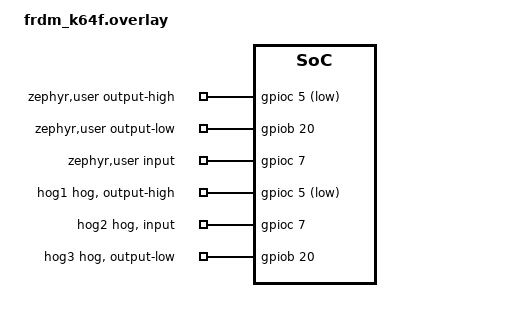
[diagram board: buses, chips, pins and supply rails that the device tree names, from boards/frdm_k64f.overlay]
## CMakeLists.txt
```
# SPDX-License-Identifier: Apache-2.0

cmake_minimum_required(VERSION 3.20.0)
find_package(Zephyr REQUIRED HINTS $ENV{ZEPHYR_BASE})
project(gpio_hogs)

FILE(GLOB app_sources src/*.c)
target_sources(app PRIVATE ${app_sources})
```

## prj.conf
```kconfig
CONFIG_ZTEST=y
CONFIG_GPIO=y
CONFIG_GPIO_GET_DIRECTION=y
CONFIG_GPIO_GET_CONFIG=y
```

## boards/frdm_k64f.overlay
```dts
/*
 * Copyright (c) 2023 Vestas Wind Systems A/S
 *
 * SPDX-License-Identifier: Apache-2.0
*/

#include <zephyr/dt-bindings/gpio/gpio.h>

/ {
	zephyr,user {
		output-high-gpios = <&gpioc 5 GPIO_ACTIVE_LOW>;
		output-low-gpios = <&gpiob 20 GPIO_ACTIVE_HIGH>;
		input-gpios = <&gpioc 7 GPIO_ACTIVE_HIGH>;
	};
};

&gpioc {
	hog1 {
		gpio-hog;
		gpios = <5 GPIO_ACTIVE_LOW>;
		output-high;
	};

	hog2 {
		gpio-hog;
		gpios = <7 GPIO_ACTIVE_HIGH>;
		input;
	};
};

&gpiob {
	hog3 {
		gpio-hog;
		gpios = <20 GPIO_ACTIVE_HIGH>;
		output-low;
	};
};
```

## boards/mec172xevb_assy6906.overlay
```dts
/*
 * Copyright (c) 2023 Microchip Technology Inc.
 *
 * SPDX-License-Identifier: Apache-2.0
*/

#include <zephyr/dt-bindings/gpio/gpio.h>

/ {
	zephyr,user {
		output-high-gpios = <&gpio_000_036 13 GPIO_ACTIVE_LOW>;
		output-low-gpios = <&gpio_000_036 14 GPIO_ACTIVE_HIGH>;
		input-gpios = <&gpio_000_036 11 GPIO_ACTIVE_LOW>;
	};
};

&gpio_000_036 {
	hog1 {
		gpio-hog;
		gpios = <13 GPIO_ACTIVE_LOW>;
		output-high;
	};

	hog2 {
		gpio-hog;
		gpios = <14 GPIO_ACTIVE_HIGH>;
		output-low;
	};

	hog3 {
		gpio-hog;
		gpios = <11 GPIO_ACTIVE_LOW>;
		input;
	};
};
```

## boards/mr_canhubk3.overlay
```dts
/*
 * Copyright 2023 NXP
 *
 * SPDX-License-Identifier: Apache-2.0
 */

#include <zephyr/dt-bindings/gpio/gpio.h>

/ {
	zephyr,user {
		output-high-gpios = <&gpioa_h 0 GPIO_ACTIVE_LOW>;
		output-low-gpios = <&gpioa_h 3 GPIO_ACTIVE_HIGH>;
		input-gpios = <&gpioa_h 1 GPIO_ACTIVE_HIGH>;
	};
};

&gpioa_h {
	hog1 {
		gpio-hog;
		gpios = <0 GPIO_ACTIVE_LOW>;
		output-high;
	};

	hog2 {
		gpio-hog;
		gpios = <1 GPIO_ACTIVE_HIGH>;
		input;
	};

	hog3 {
		gpio-hog;
		gpios = <3 GPIO_ACTIVE_HIGH>;
		output-low;
	};
};
```

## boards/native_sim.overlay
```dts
/*
 * Copyright (c) 2023 Vestas Wind Systems A/S
 *
 * SPDX-License-Identifier: Apache-2.0
*/

#include <zephyr/dt-bindings/gpio/gpio.h>

/ {
	zephyr,user {
		output-high-gpios = <&gpio0 1 GPIO_ACTIVE_LOW>;
		output-low-gpios = <&gpio0 2 GPIO_ACTIVE_HIGH>;
		input-gpios = <&gpio0 3 GPIO_ACTIVE_HIGH>;
	};
};

&gpio0 {
	hog1 {
		gpio-hog;
		gpios = <1 GPIO_ACTIVE_LOW>;
		output-high;
	};

	hog2 {
		gpio-hog;
		gpios = <2 GPIO_ACTIVE_HIGH>;
		output-low;
	};

	hog3 {
		gpio-hog;
		gpios = <3 GPIO_ACTIVE_HIGH>;
		input;
	};
};
```

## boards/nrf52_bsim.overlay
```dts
/*
 * Copyright (c) 2023 Vestas Wind Systems A/S
 *
 * SPDX-License-Identifier: Apache-2.0
*/

#include <zephyr/dt-bindings/gpio/gpio.h>

/ {
	zephyr,user {
		output-high-gpios = <&gpio0 13 GPIO_ACTIVE_LOW>;
		output-low-gpios = <&gpio0 14 GPIO_ACTIVE_HIGH>;
		input-gpios = <&gpio0 11 GPIO_ACTIVE_LOW>;
	};
};

&gpio0 {
	hog1 {
		gpio-hog;
		gpios = <13 GPIO_ACTIVE_LOW>;
		output-high;
	};

	hog2 {
		gpio-hog;
		gpios = <14 GPIO_ACTIVE_HIGH>;
		output-low;
	};

	hog3 {
		gpio-hog;
		gpios = <11 GPIO_ACTIVE_LOW>;
		input;
	};
};
```

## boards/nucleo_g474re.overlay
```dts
/*
 * Copyright (c) 2023 Vestas Wind Systems A/S
 *
 * SPDX-License-Identifier: Apache-2.0
*/

#include <zephyr/dt-bindings/gpio/gpio.h>

/ {
	zephyr,user {
		output-high-gpios = <&gpioc 2 GPIO_ACTIVE_LOW>;
		output-low-gpios = <&gpiof 1 GPIO_ACTIVE_HIGH>;
		input-gpios = <&gpioc 3 GPIO_ACTIVE_HIGH>;
	};
};

&gpioc {
	hog1 {
		gpio-hog;
		gpios = <2 GPIO_ACTIVE_LOW>;
		output-high;
	};

	hog2 {
		gpio-hog;
		gpios = <3 GPIO_ACTIVE_HIGH>;
		input;
	};
};

&gpiof {
	hog3 {
		gpio-hog;
		gpios = <1 GPIO_ACTIVE_HIGH>;
		output-low;
	};
};
```

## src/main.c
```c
/*
 * Copyright (c) 2023 Vestas Wind Systems A/S
 *
 * SPDX-License-Identifier: Apache-2.0
 */

#include <zephyr/drivers/gpio.h>
#include <zephyr/ztest.h>

#define ZEPHYR_USER_NODE DT_PATH(zephyr_user)

const struct gpio_dt_spec output_high_gpio =
	GPIO_DT_SPEC_GET_OR(ZEPHYR_USER_NODE, output_high_gpios, {0});
const struct gpio_dt_spec output_low_gpio =
	GPIO_DT_SPEC_GET_OR(ZEPHYR_USER_NODE, output_low_gpios, {0});
const struct gpio_dt_spec input_gpio =
	GPIO_DT_SPEC_GET_OR(ZEPHYR_USER_NODE, input_gpios, {0});

static void assert_gpio_hog_direction(const struct gpio_dt_spec *spec, bool output)
{
	int err;

	if (spec->port == NULL) {
		ztest_test_skip();
	}

	if (output) {
		err = gpio_pin_is_output(spec->port, spec->pin);
	} else {
		err = gpio_pin_is_input(spec->port, spec->pin);
	}

	if (err == -ENOSYS) {
		ztest_test_skip();
	}

	zassert_equal(err, 1, "GPIO hog %s pin %d not configured as %s",
		      spec->port->name, spec->pin,
		      output ? "output" : "input");
}

ZTEST(gpio_hogs, test_gpio_hog_output_high_direction)
{
	assert_gpio_hog_direction(&output_high_gpio, true);
}

ZTEST(gpio_hogs, test_gpio_hog_output_low_direction)
{
	assert_gpio_hog_direction(&output_low_gpio, true);
}

ZTEST(gpio_hogs, test_gpio_hog_input_direction)
{
	assert_gpio_hog_direction(&input_gpio, false);
}

static void assert_gpio_hog_config(const struct gpio_dt_spec *spec, gpio_flags_t expected)
{
	gpio_flags_t actual;
	int err;

	if (spec->port == NULL) {
		ztest_test_skip();
	}

	err = gpio_pin_get_config_dt(spec, &actual);
	if (err == -ENOSYS) {
		ztest_test_skip();
	}

	zassert_equal(err, 0, "failed to get config for GPIO hog %s, pin %d (err %d)",
		      spec->port->name, spec->pin, err);
	zassert_equal(actual & expected, expected,
		      "GPIO hog %s, pin %d flags not set (0x%08x vs. 0x%08x)",
		      spec->port->name, spec->pin, actual, expected);
}

ZTEST(gpio_hogs, test_gpio_hog_output_high_config)
{
	gpio_flags_t expected = GPIO_OUTPUT;

	if ((output_high_gpio.dt_flags & GPIO_ACTIVE_LOW) != 0) {
		expected |= GPIO_OUTPUT_INIT_LOW;
	} else {
		expected |= GPIO_OUTPUT_INIT_HIGH;
	}

	assert_gpio_hog_config(&output_high_gpio, expected);
}

ZTEST(gpio_hogs, test_gpio_hog_output_low_config)
{
	gpio_flags_t expected = GPIO_OUTPUT;

	if ((output_low_gpio.dt_flags & GPIO_ACTIVE_LOW) == 0) {
		expected |= GPIO_OUTPUT_INIT_LOW;
	} else {
		expected |= GPIO_OUTPUT_INIT_HIGH;
	}

	assert_gpio_hog_config(&output_low_gpio, expected);
}

ZTEST(gpio_hogs, test_gpio_hog_input_config)
{
	assert_gpio_hog_config(&input_gpio, GPIO_INPUT);
}

ZTEST_SUITE(gpio_hogs, NULL, NULL, NULL, NULL, NULL);
```
